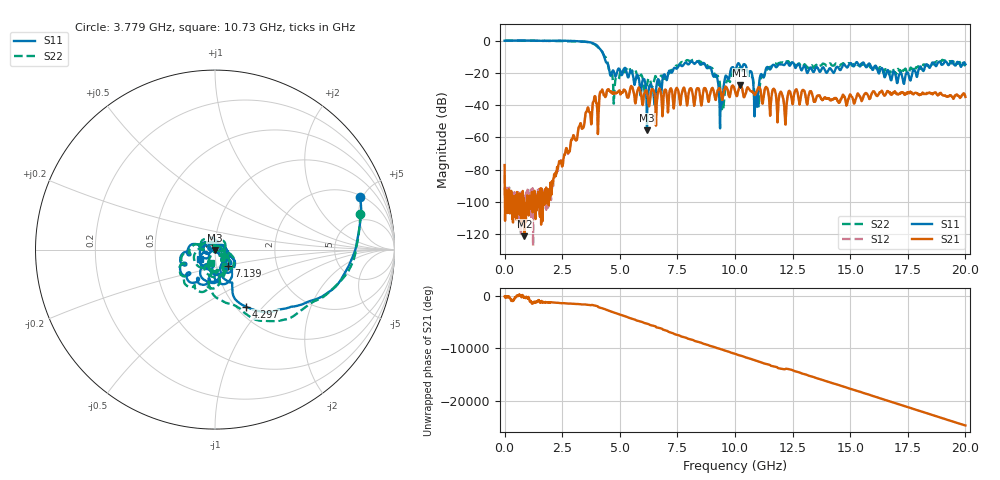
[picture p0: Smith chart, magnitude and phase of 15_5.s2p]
#  HZ  S  RI  R  50.00
! Rohde & Schwarz Vector Network Analyzer
! Rohde-Schwarz,ZNB20-2Port,1311601062102128,3.60
! Created: UTC 4/29/2024, 2:57:56 PM
! freq[Hz]  re:S11  im:S11  re:S21  im:S21  re:S12  im:S12  re:S22  im:S22
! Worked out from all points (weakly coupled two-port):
!   2007 points, 100 kHz to 20 GHz, reference 50 ohm
!   highest |S21| = -27.65 dB at 10.23 GHz (marker M1); lowest = -121.3 dB at 857.5 MHz (marker M2)
!   lowest |S11| = -55.7 dB at 6.182 GHz (marker M3), VSWR 1.00, Z = 49.9 - j0.156 ohm
!   |S11| at or under -10 dB: 4.326 GHz to end of sweep
!   |S22| runs from -43.3 to 0.1 dB; largest |S21 - S12| = 0.0021
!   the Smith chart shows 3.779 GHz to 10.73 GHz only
!   S11 on the Smith chart (normalised r, x): 3.779 GHz: 2.08, +4.77; 4.297 GHz: 1.11, -0.81; 7.139 GHz: 1.14, -0.21; 10.73 GHz: 0.84, -0.09
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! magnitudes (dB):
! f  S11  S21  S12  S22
! 100 kHz  0.0  -77.1  -83.2  0.1
! 857.5 MHz  0.1  -121.3  -96.3  0.0
! 2.213 GHz  -0.1  -83.3  -84.5  -0.3
! 3.34 GHz  -0.6  -53.9  -53.6  -0.6
! 3.779 GHz  -1.3  -49.9  -50.2  -1.6
! 4.297 GHz  -8.8  -33.5  -33.7  -9.0
! 4.776 GHz  -20.7  -32.3  -32.4  -28.8
! 5.354 GHz  -22.8  -35.3  -35.2  -16.3
! 6.182 GHz  -55.7  -32.2  -32.2  -27.3
! 6.67 GHz  -23.9  -31.3  -31.4  -27.2
! 7.139 GHz  -18.7  -34.0  -34.0  -20.4
! 8.644 GHz  -13.9  -30.2  -30.2  -14.3
! 9.183 GHz  -21.4  -35.6  -35.5  -22.5
! 9.392 GHz  -40.2  -32.8  -32.8  -34.1
! 10 GHz  -18.7  -31.2  -31.2  -19.3
! 10.23 GHz  -15.9  -27.6  -27.6  -16.8
! 10.73 GHz  -20.1  -31.4  -31.4  -22.3
! 10.92 GHz  -33.6  -32.4  -32.4  -34.2
! 11.42 GHz  -16.4  -30.2  -30.2  -16.8
! 13.34 GHz  -18.0  -32.7  -32.8  -15.3
! 16.67 GHz  -19.0  -31.7  -31.8  -20.5
! 20 GHz  -14.6  -34.9  -34.8  -14.4
